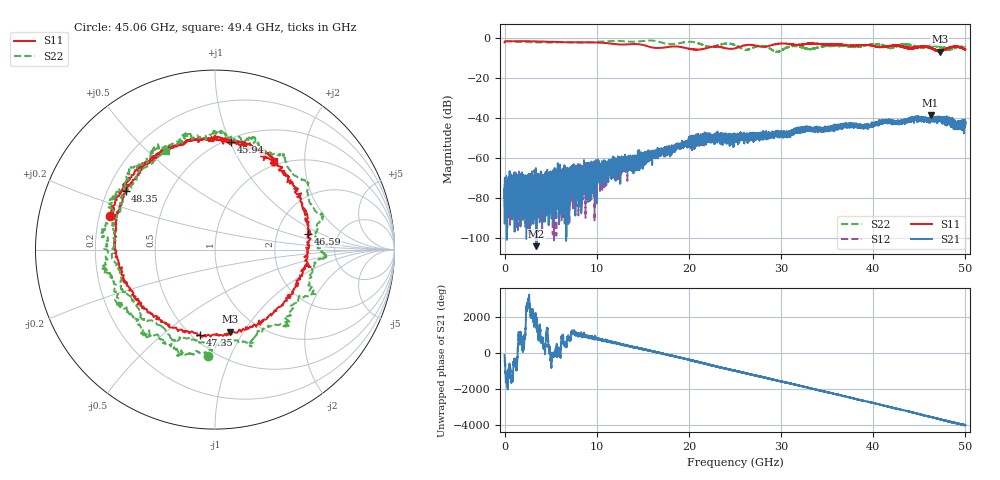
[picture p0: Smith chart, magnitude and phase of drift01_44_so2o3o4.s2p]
!Created with skrf (http://scikit-rf.org).
# Hz S RI R 50.0
!freq ReS11 ImS11 ReS21 ImS21 ReS12 ImS12 ReS22 ImS22
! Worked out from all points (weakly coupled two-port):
!   10001 points, 300 kHz to 50 GHz, reference 50 ohm
!   highest |S21| = -38.62 dB at 46.23 GHz (marker M1); lowest = -104.2 dB at 3.46 GHz (marker M2)
!   lowest |S11| = -6.7 dB at 47.21 GHz (marker M3), VSWR 2.73, Z = 37.3 - j43.4 ohm
!   |S11| at or under -10 dB: nowhere
!   |S22| runs from -6.9 to -1.0 dB; largest |S21 - S12| = 0.0043
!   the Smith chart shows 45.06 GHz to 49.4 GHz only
!   S11 on the Smith chart (normalised r, x): 45.06 GHz: 0.24, +0.15; 45.94 GHz: 0.53, +1.01; 46.59 GHz: 3.03, +0.75; 47.35 GHz: 0.54, -0.68; 48.35 GHz: 0.27, +0.28; 49.4 GHz: 0.93, +1.43
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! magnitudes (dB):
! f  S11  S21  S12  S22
! 300 kHz  -2.1  -79.9  -73.1  -1.3
! 480.3 MHz  -1.4  -83.6  -77.7  -1.4
! 3.46 GHz  -1.5  -104.2  -70.2  -2.0
! 5.945 GHz  -1.9  -70.3  -69.6  -2.0
! 7.22 GHz  -2.0  -72.5  -68.0  -2.0
! 8.335 GHz  -2.0  -70.7  -84.9  -2.1
! 16.67 GHz  -4.9  -55.5  -57.3  -1.6
! 22.05 GHz  -4.8  -51.4  -50.8  -4.1
! 25 GHz  -5.0  -48.7  -49.2  -3.4
! 29.51 GHz  -2.8  -48.0  -48.2  -6.7
! 31.27 GHz  -3.0  -47.0  -46.3  -4.0
! 33.34 GHz  -2.6  -45.7  -45.2  -5.4
! 41.67 GHz  -3.9  -41.5  -41.8  -4.5
! 45.06 GHz  -4.2  -41.0  -40.0  -4.5
! 45.94 GHz  -4.4  -41.5  -41.4  -3.8
! 46.23 GHz  -4.7  -38.6  -41.8  -3.7
! 46.59 GHz  -5.5  -39.6  -41.3  -3.8
! 47.21 GHz  -6.7  -40.4  -40.8  -4.6
! 47.35 GHz  -6.3  -39.9  -41.1  -4.7
! 48.35 GHz  -4.5  -41.5  -42.2  -5.6
! 49.4 GHz  -4.5  -43.3  -42.1  -4.3
! 50 GHz  -5.6  -41.9  -42.6  -4.3
